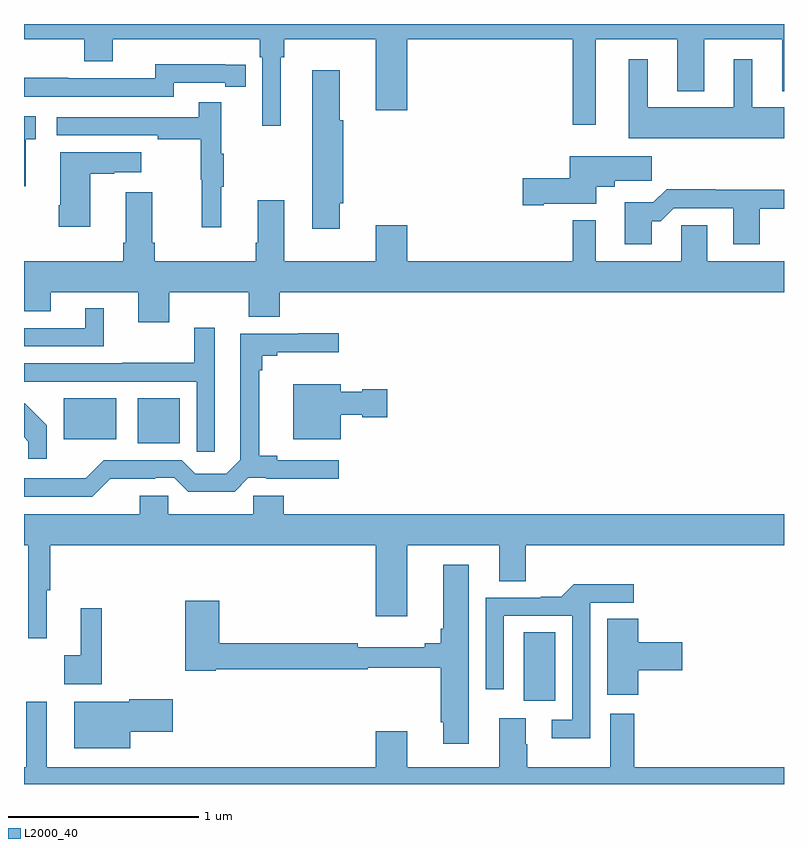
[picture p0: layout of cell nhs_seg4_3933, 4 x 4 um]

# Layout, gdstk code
import gdstk
lib = gdstk.Library(unit=1e-6, precision=1e-09)
def R(c, l, rs):  # rectangles x0, y0, x1, y1
    for r in rs: c.add(gdstk.rectangle(r[:2], r[2:], *l))
def P(c, l, *ps):  # polygons
    for p in ps: c.add(gdstk.Polygon(p, *l))
L2000_40 = (2000, 40)

nhs_seg4_3933 = lib.new_cell('nhs_seg4_3933')
R(nhs_seg4_3933, L2000_40, [(321.629,793.338,321.796,793.7), (319.598,794.693,319.819,794.929), (319.208,794.714,319.486,794.929)])
P(nhs_seg4_3933, L2000_40, [(320.35,796.724),(320.369,796.724),(320.369,796.82),(320.852,796.82),(320.852,796.446),(321.016,796.446),(321.016,796.82),(321.888,796.82),(321.888,796.371),(322.009,796.371),(322.009,796.82),(322.439,796.82),(322.439,796.547),(322.579,796.547),(322.579,796.82),(322.991,796.82),(322.991,796.547),(323,796.547),(323,796.9),(319,796.9),(319,796.82),(319.316,796.82),(319.316,796.703),(319.468,796.703),(319.468,796.82),(320.24,796.82),(320.24,796.724),(320.253,796.724),(320.253,796.365),(320.35,796.365)],
  [(323,796.462),(322.834,796.462),(322.834,796.714),(322.736,796.714),(322.736,796.462),(322.282,796.462),(322.282,796.714),(322.184,796.714),(322.184,796.298),(323,796.298)],
  [(319.788,796.59),(320.06,796.59),(320.06,796.57),(320.168,796.57),(320.168,796.686),(320.06,796.686),(320.06,796.687),(319.692,796.687),(319.692,796.614),(319.232,796.614),(319.232,796.616),(319,796.616),(319,796.518),(319.788,796.518)],
  [(320.662,795.957),(320.68,795.957),(320.68,796.393),(320.662,796.393),(320.662,796.657),(320.516,796.657),(320.516,795.822),(320.662,795.822)],
  [(320.039,796.043),(320.05,796.043),(320.05,796.217),(320.039,796.217),(320.039,796.489),(319.921,796.489),(319.921,796.41),(319.173,796.41),(319.173,796.314),(319.705,796.314),(319.705,796.294),(319.929,796.294),(319.929,796.08),(319.936,796.08),(319.936,795.831),(320.039,795.831)],
  [(319.01,796.293),(319.063,796.293),(319.063,796.414),(319,796.414),(319,796.047),(319.01,796.047)],
  [(319.348,796.111),(319.475,796.111),(319.475,796.121),(319.618,796.121),(319.618,796.225),(319.19,796.225),(319.19,795.946),(319.183,795.946),(319.183,795.834),(319.348,795.834)],
  [(321.736,795.953),(322.012,795.953),(322.012,796.043),(322.108,796.043),(322.108,796.075),(322.303,796.075),(322.303,796.204),(321.872,796.204),(321.872,796.088),(321.624,796.088),(321.624,795.946),(321.736,795.946)],
  [(322.303,795.863),(322.352,795.863),(322.419,795.93),(322.733,795.93),(322.733,795.741),(322.873,795.741),(322.873,795.927),(323,795.927),(323,796.028),(322.637,796.028),(322.637,796.031),(322.382,796.031),(322.312,795.961),(322.163,795.961),(322.163,795.741),(322.303,795.741)],
  [(319.765,795.488),(320.183,795.488),(320.183,795.36),(320.347,795.36),(320.347,795.488),(323,795.488),(323,795.652),(322.597,795.652),(322.597,795.842),(322.458,795.842),(322.458,795.652),(322.009,795.652),(322.009,795.868),(321.888,795.868),(321.888,795.652),(321.016,795.652),(321.016,795.841),(320.852,795.841),(320.852,795.652),(320.371,795.652),(320.371,795.973),(320.231,795.973),(320.231,795.748),(320.219,795.748),(320.219,795.652),(319.688,795.652),(319.688,795.748),(319.675,795.748),(319.675,796.015),(319.535,796.015),(319.535,795.748),(319.523,795.748),(319.523,795.652),(319,795.652),(319,795.389),(319.141,795.389),(319.141,795.488),(319.601,795.488),(319.601,795.33),(319.765,795.33)],
  [(319.421,795.403),(319.322,795.403),(319.322,795.3),(319,795.3),(319,795.204),(319.421,795.204)],
  [(320.005,795.301),(319.896,795.301),(319.896,795.116),(319.516,795.116),(319.516,795.114),(319,795.114),(319,795.018),(319.908,795.018),(319.908,794.649),(320.005,794.649)],
  [(319.454,794.507),(319.691,794.507),(319.691,794.511),(319.791,794.511),(319.864,794.438),(320.108,794.438),(320.181,794.511),(320.275,794.511),(320.275,794.507),(320.656,794.507),(320.656,794.604),(320.332,794.604),(320.332,794.627),(320.237,794.627),(320.237,795.077),(320.255,795.077),(320.255,795.154),(320.332,795.154),(320.332,795.173),(320.656,795.173),(320.656,795.272),(320.443,795.272),(320.443,795.27),(320.138,795.27),(320.138,794.606),(320.065,794.533),(319.901,794.533),(319.83,794.604),(319.419,794.604),(319.325,794.51),(319.22,794.51),(319.22,794.508),(319,794.508),(319,794.412),(319.359,794.412)],
  [(320.668,794.843),(320.781,794.843),(320.781,794.831),(320.911,794.831),(320.911,794.978),(320.781,794.978),(320.781,794.965),(320.668,794.965),(320.668,795.004),(320.417,795.004),(320.417,794.714),(320.668,794.714)],
  [(319.119,794.788),(319.003,794.904),(319,794.904),(319,794.725),(319.023,794.702),(319.023,794.611),(319.119,794.611)],
  [(319.121,793.92),(319.139,793.92),(319.139,794.156),(320.852,794.156),(320.852,793.782),(321.016,793.782),(321.016,794.156),(321.5,794.156),(321.5,793.966),(321.64,793.966),(321.64,794.156),(323,794.156),(323,794.32),(320.366,794.32),(320.366,794.418),(320.207,794.418),(320.207,794.32),(319.76,794.32),(319.76,794.418),(319.61,794.418),(319.61,794.32),(319,794.32),(319,794.156),(319.022,794.156),(319.022,793.668),(319.121,793.668)],
  [(321.34,794.053),(321.206,794.053),(321.206,793.717),(321.194,793.717),(321.194,793.64),(321.11,793.64),(321.11,793.621),(320.756,793.621),(320.756,793.64),(320.027,793.64),(320.027,793.864),(319.849,793.864),(319.849,793.496),(320.01,793.496),(320.01,793.504),(320.81,793.504),(320.81,793.512),(321.194,793.512),(321.194,793.225),(321.206,793.225),(321.206,793.113),(321.34,793.113)],
  [(321.981,793.854),(322.21,793.854),(322.21,793.952),(321.893,793.952),(321.827,793.886),(321.719,793.886),(321.719,793.881),(321.429,793.881),(321.429,793.398),(321.525,793.398),(321.525,793.785),(321.885,793.785),(321.885,793.239),(321.777,793.239),(321.777,793.142),(321.981,793.142)],
  [(319.408,793.825),(319.298,793.825),(319.298,793.577),(319.212,793.577),(319.212,793.424),(319.408,793.424)],
  [(322.232,793.499),(322.465,793.499),(322.465,793.646),(322.232,793.646),(322.232,793.769),(322.07,793.769),(322.07,793.371),(322.232,793.371)],
  [(319.558,793.175),(319.783,793.175),(319.783,793.346),(319.554,793.346),(319.554,793.333),(319.265,793.333),(319.265,793.088),(319.558,793.088)],
  [(323,792.988),(322.211,792.988),(322.211,793.27),(322.085,793.27),(322.085,792.988),(321.648,792.988),(321.648,793.109),(321.64,793.109),(321.64,793.246),(321.5,793.246),(321.5,792.988),(321.016,792.988),(321.016,793.177),(320.852,793.177),(320.852,792.988),(319.12,792.988),(319.12,793.333),(319.011,793.333),(319.011,792.988),(319,792.988),(319,792.9),(323,792.9)])

lib.write_gds('nhs_seg4_3933.gds')
